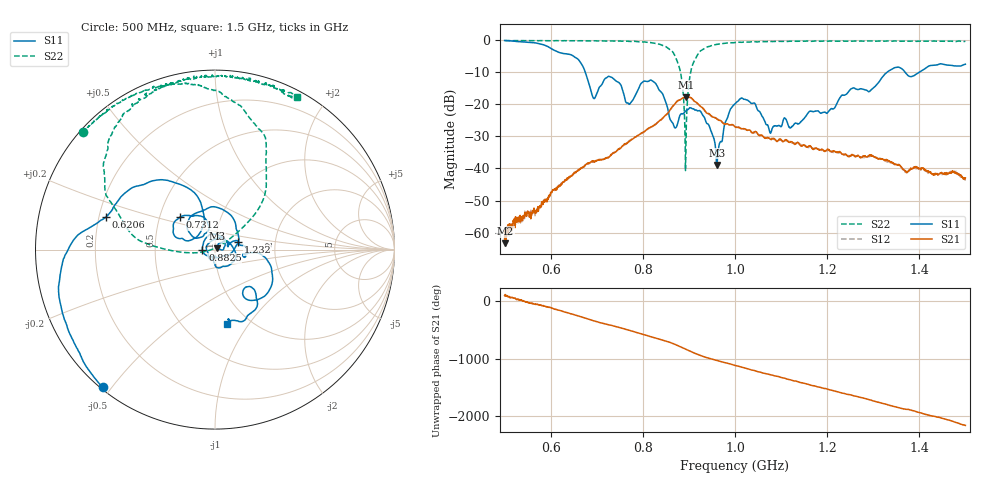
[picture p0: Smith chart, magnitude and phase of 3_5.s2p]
!Agilent Technologies,E8364B,US42250235,A.06.04.32
!Agilent E8364B: A.06.04.32
!Date: Friday, January 15, 2021 12:52:32
!Correction: S11(Full 2 Port(1,2)) S21(Full 2 Port(1,2)) S12(Full 2 Port(1,2)) S22(Full 2 Port(1,2))
!S2P File: Measurements: S11, S21, S12, S22:
# Hz S  dB  R 50
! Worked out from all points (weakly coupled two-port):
!   1601 points, 500 MHz to 1.5 GHz, reference 50 ohm
!   highest |S21| = -17.79 dB at 893.8 MHz (marker M1); lowest = -63.3 dB at 501.2 MHz (marker M2)
!   lowest |S11| = -38.9 dB at 960.6 MHz (marker M3), VSWR 1.02, Z = 50.9 + j0.653 ohm
!   |S11| at or under -10 dB: 675.1 MHz to 1.33 GHz (654.8 MHz wide, 65.3 % of centre); 1.369 GHz to 1.4 GHz (30.58 MHz wide, 2.21 % of centre)
!   |S22| runs from -40.7 to -0.1 dB; largest |S21 - S12| = 0.0045
!   S11 on the Smith chart (normalised r, x): 500 MHz: 0.01, -0.48; 620.6 MHz: 0.23, +0.14; 731.2 MHz: 0.64, +0.25; 882.5 MHz: 0.87, -0.00; 1.232 GHz: 1.30, +0.12; 1.5 GHz: 0.79, -0.80
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5e8  -0.09 -129.2  -61.85 100.9  -59.94 103.5  -0.14 138.3
5.0125e8  -0.10 -129.7  -63.30 120.2  -60.14 94.1  -0.14 138.2
5.70625e8  -0.94 -166.4  -53.45 -47.9  -52.14 -50.4  -0.17 131.5
6.20625e8  -3.94 163.6  -45.49 -160.2  -45.23 -161.2  -0.19 127.3
6.66875e8  -7.43 119.8  -39.88 88.5  -39.86 86.6  -0.18 121.8
6.9375e8  -18.19 137.0  -37.74 20.7  -37.93 18.7  -0.21 118.4
7.3125e8  -11.51 137.0  -35.60 -57.1  -35.85 -58.2  -0.24 113.8
7.68125e8  -19.63 125.0  -31.79 -140.3  -31.69 -139.7  -0.33 108.3
8.0125e8  -12.87 128.0  -28.64 140.9  -28.67 139.3  -0.54 99.6
8.3375e8  -15.14 48.3  -25.45 64.7  -25.44 63.3  -1.17 87.7
8.66875e8  -26.54 -72.9  -20.27 -22.4  -20.26 -23.2  -4.12 62.7
8.825e8  -23.05 -178.5  -18.44 -77.0  -18.45 -78.0  -10.57 41.6
8.9375e8  -21.98 135.9  -17.79 -119.0  -17.85 -119.9  -30.29 -173.2
9.10625e8  -21.48 83.3  -18.87 177.7  -18.84 176.6  -6.73 170.5
9.60625e8  -38.92 34.5  -24.61 46.1  -24.46 45.8  -1.32 132.7
1e9  -19.86 5.4  -26.99 -40.1  -26.94 -41.0  -0.74 120.2
1.04125e9  -19.58 -74.6  -28.68 -127.6  -28.85 -130.4  -0.46 114.3
1.0775e9  -28.94 -91.1  -30.93 155.9  -30.55 154.1  -0.40 108.1
1.166875e9  -22.17 38.5  -33.74 -32.2  -33.72 -31.8  -0.36 97.6
1.231875e9  -17.21 18.5  -35.41 -162.6  -35.53 -164.1  -0.28 90.8
1.33375e9  -9.57 -18.5  -37.62 -14.7  -37.98 -16.9  -0.27 80.8
1.5e9  -7.51 -80.9  -42.94 -10.6  -43.48 -16.2  -0.33 61.7
